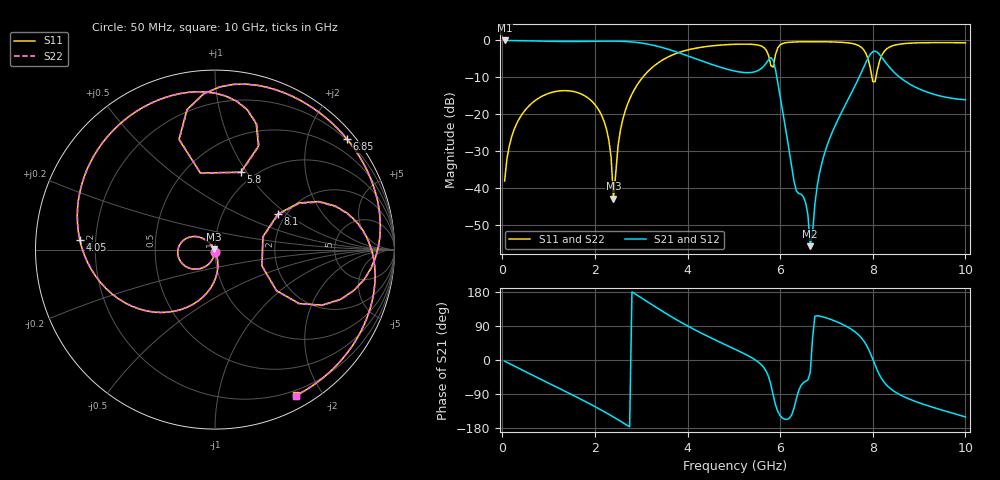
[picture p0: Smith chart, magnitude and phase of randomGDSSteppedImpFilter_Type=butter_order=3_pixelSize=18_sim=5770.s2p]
! freq	dB(S11)	phase(S11)	dB(S12)	phase(S12)
!  dB(S21)	phase(S21)	dB(S22)	phase(S22)
!S-par simulation data
#  GHz  S  DB  R 50
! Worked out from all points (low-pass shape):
!   200 points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, 50 MHz to 10 GHz, reference 50 ohm
!   highest |S21| = 0.00 dB at 50 MHz (marker M1); lowest = -55.8 dB at 6.65 GHz (marker M2)
!   |S21| within 3 dB of the highest: start of sweep to 3.732 GHz; 8.017 GHz to 8.064 GHz (47.26 MHz wide, 0.588 % of centre)
!   lowest |S11| = -42.9 dB at 2.4 GHz (marker M3), VSWR 1.01, Z = 49.3 + j0.269 ohm
!   |S11| at or under -10 dB: start of sweep to 3.033 GHz; 7.983 GHz to 8.068 GHz (84.83 MHz wide, 1.06 % of centre)
!   |S22| runs from -43.3 to -0.4 dB; largest |S21 - S12| = 0
!   S11 on the Smith chart (normalised r, x): 50 MHz: 1.00, -0.02; 4.05 GHz: 0.14, +0.04; 5.8 GHz: 0.86, +0.94; 6.85 GHz: 0.18, +2.74; 8.1 GHz: 1.82, +0.86; 10 GHz: 0.14, -1.69
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0.05  -38.12 -93.4  -0.00 -3.1  -0.00 -3.1  -38.12 -93.4
0.2  -26.23 -103.1  -0.03 -12.4  -0.03 -12.4  -26.23 -103.1
0.55  -18.10 -124.7  -0.11 -33.9  -0.11 -33.9  -18.10 -124.7
1.75  -14.82 162.8  -0.27 -106.9  -0.27 -106.9  -14.82 162.7
2.25  -24.11 132.4  -0.19 -139.8  -0.19 -139.8  -24.11 131.9
2.4  -42.90 157.6  -0.19 -150.4  -0.19 -150.4  -43.29 154.1
2.65  -19.27 -82.2  -0.27 -168.8  -0.27 -168.8  -19.27 -82.0
3.4  -5.78 -138.4  -1.74 133.0  -1.74 133.0  -5.78 -138.5
4.05  -2.43 175.8  -4.40 86.7  -4.40 86.7  -2.43 175.7
5.05  -1.03 117.1  -8.39 26.9  -8.39 26.9  -1.03 116.9
5.55  -1.34 86.0  -7.99 -7.6  -7.99 -7.6  -1.34 85.8
5.8  -6.85 71.6  -4.65 -65.1  -4.65 -65.1  -6.86 71.4
5.9  -3.80 108.1  -7.95 -118.3  -7.95 -118.3  -3.80 108.0
6.1  -0.66 83.6  -22.58 -156.5  -22.58 -156.5  -0.66 83.4
6.55  -0.36 55.2  -44.03 -55.9  -44.03 -55.9  -0.36 55.0
6.65  -0.36 50.1  -55.83 -32.5  -55.83 -32.5  -0.36 49.8
6.7  -0.36 47.5  -52.24 58.5  -52.24 58.5  -0.36 47.3
6.85  -0.36 39.9  -36.02 115.9  -36.02 115.9  -0.36 39.7
7.85  -3.46 -27.4  -6.02 42.0  -6.02 42.0  -3.46 -27.6
8.1  -7.91 29.5  -3.24 -28.0  -3.24 -28.0  -7.89 29.1
8.35  -1.87 10.8  -7.11 -72.2  -7.11 -72.2  -1.87 10.5
10  -0.63 -60.9  -16.09 -150.1  -16.09 -150.1  -0.63 -61.1
